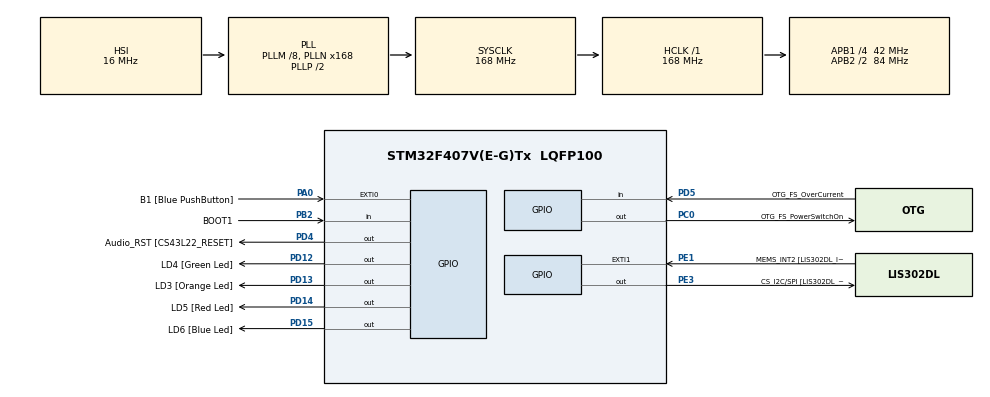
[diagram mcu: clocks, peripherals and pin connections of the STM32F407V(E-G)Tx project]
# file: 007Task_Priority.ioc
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Mcu.Family=STM32F4
Mcu.Name=STM32F407V(E-G)Tx
Mcu.Package=LQFP100
NVIC.EXTI0_IRQn=true\:6\:0\:true\:false\:true\:true\:true
NVIC.PriorityGroup=NVIC_PRIORITYGROUP_4
NVIC.TIM6_DAC_IRQn=true\:0\:0\:false\:false\:true\:false\:true
NVIC.TimeBase=TIM6_DAC_IRQn
NVIC.TimeBaseIP=TIM6
PA0-WKUP.GPIO_Label=B1 [Blue PushButton]
PA0-WKUP.GPIO_ModeDefaultEXTI=GPIO_MODE_IT_FALLING
PA0-WKUP.Signal=GPXTI0
PA10.GPIO_Label=OTG_FS_ID
PA10.GPIO_Mode=GPIO_MODE_AF_PP
PA10.GPIO_PuPd=GPIO_NOPULL
PA10.GPIO_Speed=GPIO_SPEED_FREQ_LOW
PA10.Signal=USB_OTG_FS_ID
PA11.GPIO_Label=OTG_FS_DM
PA11.GPIO_Mode=GPIO_MODE_AF_PP
PA11.GPIO_PuPd=GPIO_NOPULL
PA11.GPIO_Speed=GPIO_SPEED_FREQ_LOW
PA11.Signal=USB_OTG_FS_DM
PA12.GPIO_Label=OTG_FS_DP
PA12.GPIO_Mode=GPIO_MODE_AF_PP
PA12.GPIO_PuPd=GPIO_NOPULL
PA12.GPIO_Speed=GPIO_SPEED_FREQ_LOW
PA12.Signal=USB_OTG_FS_DP
PA13.GPIO_Label=SWDIO
PA13.Signal=SYS_JTMS-SWDIO
PA14.GPIO_Label=SWCLK
PA14.Signal=SYS_JTCK-SWCLK
PA4.GPIO_Label=I2S3_WS [CS43L22_LRCK]
PA4.GPIO_Mode=GPIO_MODE_AF_PP
PA4.GPIO_PuPd=GPIO_NOPULL
PA4.GPIO_Speed=GPIO_SPEED_FREQ_LOW
PA4.Signal=I2S3_WS
PA5.GPIO_Label=SPI1_SCK [LIS302DL_SCL/SPC]
PA5.GPIO_Mode=GPIO_MODE_AF_PP
PA5.GPIO_PuPd=GPIO_NOPULL
PA5.GPIO_Speed=GPIO_SPEED_FREQ_LOW
PA5.Signal=SPI1_SCK
PA6.GPIO_Label=SPI1_MISO [LIS302DL_SDO]
PA6.GPIO_Mode=GPIO_MODE_AF_PP
PA6.GPIO_PuPd=GPIO_NOPULL
PA6.GPIO_Speed=GPIO_SPEED_FREQ_LOW
PA6.Signal=SPI1_MISO
PA7.GPIO_Label=SPI1_MOSI [LIS302DL_SDA/SDI/SDO]
PA7.GPIO_Mode=GPIO_MODE_AF_PP
PA7.GPIO_PuPd=GPIO_NOPULL
PA7.GPIO_Speed=GPIO_SPEED_FREQ_LOW
PA7.Signal=SPI1_MOSI
PA9.GPIO_Label=VBUS_FS
PA9.GPIO_Mode=GPIO_MODE_INPUT
PA9.GPIO_PuPd=GPIO_NOPULL
PA9.Signal=USB_OTG_FS_VBUS
PB10.GPIO_Label=CLK_IN [MP45DT02_CLK]
PB10.GPIO_Mode=GPIO_MODE_AF_PP
PB10.GPIO_PuPd=GPIO_NOPULL
PB10.GPIO_Speed=GPIO_SPEED_FREQ_LOW
PB10.Signal=I2S2_CK
PB2.GPIO_Label=BOOT1
PB2.GPIO_Mode=GPIO_MODE_INPUT
PB2.GPIO_PuPd=GPIO_NOPULL
PB2.Signal=GPIO_Input
PB3.GPIO_Label=SWO
PB3.Signal=SYS_JTDO-SWO
PB6.GPIO_Label=Audio_SCL [CS43L22_SCL]
PB6.GPIO_Mode=GPIO_MODE_AF_OD
PB6.GPIO_PuPd=GPIO_NOPULL
PB6.GPIO_Speed=GPIO_SPEED_FREQ_LOW
PB6.Signal=I2C1_SCL
PB9.GPIO_Label=Audio_SDA [CS43L22_SDA]
PB9.GPIO_Mode=GPIO_MODE_AF_OD
PB9.GPIO_PuPd=GPIO_NOPULL
PB9.GPIO_Speed=GPIO_SPEED_FREQ_LOW
PB9.Signal=I2C1_SDA
PC0.GPIO_Label=OTG_FS_PowerSwitchOn
PC0.GPIO_PuPd=GPIO_NOPULL
PC0.GPIO_Speed=GPIO_SPEED_FREQ_LOW
PC0.PinState=GPIO_PIN_SET
PC0.Signal=GPIO_Output
PC10.GPIO_Label=I2S3_SCK [CS43L22_SCLK]
PC10.GPIO_Mode=GPIO_MODE_AF_PP
PC10.GPIO_PuPd=GPIO_NOPULL
PC10.GPIO_Speed=GPIO_SPEED_FREQ_LOW
PC10.Signal=I2S3_CK
PC12.GPIO_Label=I2S3_SD [CS43L22_SDIN]
PC12.GPIO_Mode=GPIO_MODE_AF_PP
PC12.GPIO_PuPd=GPIO_NOPULL
PC12.GPIO_Speed=GPIO_SPEED_FREQ_LOW
PC12.Signal=I2S3_SD
PC14-OSC32_IN.GPIO_Label=PC14-OSC32_IN
PC14-OSC32_IN.Signal=RCC_OSC32_IN
PC15-OSC32_OUT.GPIO_Label=PC15-OSC32_OUT
PC15-OSC32_OUT.Signal=RCC_OSC32_OUT
PC3.GPIO_Label=PDM_OUT [MP45DT02_DOUT]
PC3.GPIO_Mode=GPIO_MODE_AF_PP
PC3.GPIO_PuPd=GPIO_NOPULL
PC3.GPIO_Speed=GPIO_SPEED_FREQ_LOW
PC3.Signal=I2S2_SD
PC7.GPIO_Label=I2S3_MCK [CS43L22_MCLK]
PC7.GPIO_Mode=GPIO_MODE_AF_PP
PC7.GPIO_PuPd=GPIO_NOPULL
PC7.GPIO_Speed=GPIO_SPEED_FREQ_LOW
PC7.Signal=I2S3_MCK
PD12.GPIO_Label=LD4 [Green Led]
PD12.GPIO_PuPd=GPIO_NOPULL
PD12.GPIO_Speed=GPIO_SPEED_FREQ_LOW
PD12.Signal=GPIO_Output
PD13.GPIO_Label=LD3 [Orange Led]
PD13.GPIO_PuPd=GPIO_NOPULL
PD13.GPIO_Speed=GPIO_SPEED_FREQ_LOW
PD13.Signal=GPIO_Output
PD14.GPIO_Label=LD5 [Red Led]
PD14.GPIO_PuPd=GPIO_NOPULL
PD14.GPIO_Speed=GPIO_SPEED_FREQ_LOW
PD14.Signal=GPIO_Output
PD15.GPIO_Label=LD6 [Blue Led]
PD15.GPIO_PuPd=GPIO_NOPULL
PD15.GPIO_Speed=GPIO_SPEED_FREQ_LOW
PD15.Signal=GPIO_Output
PD4.GPIO_Label=Audio_RST [CS43L22_RESET]
PD4.GPIO_PuPd=GPIO_NOPULL
PD4.GPIO_Speed=GPIO_SPEED_FREQ_LOW
PD4.Signal=GPIO_Output
PD5.GPIO_Label=OTG_FS_OverCurrent
PD5.GPIO_Mode=GPIO_MODE_INPUT
PD5.GPIO_PuPd=GPIO_NOPULL
PD5.Signal=GPIO_Input
PE1.GPIO_Label=MEMS_INT2 [LIS302DL_INT2]
PE1.GPIO_ModeDefaultEXTI=GPIO_MODE_EVT_RISING
PE1.GPIO_PuPd=GPIO_NOPULL
PE1.Signal=GPXTI1
PE3.GPIO_Label=CS_I2C/SPI [LIS302DL_CS_I2C/SPI]
PE3.GPIO_PuPd=GPIO_NOPULL
PE3.GPIO_Speed=GPIO_SPEED_FREQ_LOW
PE3.Signal=GPIO_Output
PH0-OSC_IN.GPIO_Label=PH0-OSC_IN
PH0-OSC_IN.Signal=RCC_OSC_IN
PH1-OSC_OUT.GPIO_Label=PH1-OSC_OUT
PH1-OSC_OUT.Signal=RCC_OSC_OUT
ProjectManager.HeapSize=0x200
ProjectManager.StackSize=0x400
ProjectManager.TargetToolchain=STM32CubeIDE
RCC.48MHZClocksFreq_Value=48000000
RCC.AHBFreq_Value=168000000
RCC.APB1CLKDivider=RCC_HCLK_DIV4
RCC.APB1Freq_Value=42000000
RCC.APB1TimFreq_Value=84000000
RCC.APB2CLKDivider=RCC_HCLK_DIV2
RCC.APB2Freq_Value=84000000
RCC.APB2TimFreq_Value=168000000
RCC.CortexFreq_Value=168000000
RCC.HCLKFreq_Value=168000000
RCC.HSE_VALUE=8000000
RCC.HSI_VALUE=16000000
RCC.LSE_VALUE=32768
RCC.PLLM=8
RCC.PLLN=168
RCC.PLLQ=7
RCC.SYSCLKFreq_VALUE=168000000
RCC.SYSCLKSource=RCC_SYSCLKSOURCE_PLLCLK
RCC.VCOOutputFreq_Value=336000000
VP_SYS_VS_tim6.Mode=TIM6
board=STM32F407G-DISC1

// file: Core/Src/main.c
/* USER CODE BEGIN Header */
/**
  ******************************************************************************
  * @file           : main.c
  * @brief          : Main program body
  ******************************************************************************
  * @attention
  *
  * Copyright (c) 2024 STMicroelectronics.
  * All rights reserved.
  *
  * This software is licensed under terms that can be found in the LICENSE file
  * in the root directory of this software component.
  * If no LICENSE file comes with this software, it is provided AS-IS.
  *
  ******************************************************************************
  */
/* USER CODE END Header */
#include "main.h"

/* USER CODE BEGIN Includes */
#include<stdio.h>
#include"FreeRTOS.h"
#include"task.h"
/* USER CODE END Includes */

/* USER CODE BEGIN PV */
#define DWT_CTRL		(*(volatile uint32_t*)0xE0001000)

volatile BaseType_t status_button=0;
/* USER CODE END PV */

void SystemClock_Config(void);
static void MX_GPIO_Init(void);
/* USER CODE BEGIN PFP */

static void task1_handler(void *parameters);
static void task2_handler(void *parameters);
void button_interrupt_handler(void);
void switch_priority(void);

//extern void SEGGER_UART_init(uint32_t);

/* USER CODE END PFP */

int main(void)
{
  /* USER CODE BEGIN 1 */
	BaseType_t status;

	TaskHandle_t task1_handle;
	TaskHandle_t task2_handle;

  /* USER CODE END 1 */

  /* MCU Configuration--------------------------------------------------------*/

  /* Reset of all peripherals, Initializes the Flash interface and the Systick. */
  HAL_Init();

  /* Configure the system clock */
  SystemClock_Config();

  /* Initialize all configured peripherals */
  MX_GPIO_Init();
  /* USER CODE BEGIN 2 */

  //Enable the CYCCNT counter
  DWT_CTRL |= (1<<0);

 // SEGGER_UART_init(500000);

	SEGGER_SYSVIEW_Conf();

	 SEGGER_SYSVIEW_Start();  //this line is there in segger_uart.c under segger->config->Rec

	status=xTaskCreate(task1_handler, "Task-1", 200, NULL, 2, &task1_handle);

	configASSERT(status == pdPASS);

	status=xTaskCreate(task2_handler, "Task-2", 200, NULL, 3, &task2_handle);

	configASSERT(status == pdPASS);

	//start the freeRTOS scheduler
	vTaskStartScheduler();

	//if the control comes here then the launch of scheduler has failed due to insufficient memory in the heap

  /* USER CODE END 2 */

  /* Infinite loop */
  while (1)
  {

  }
}

void SystemClock_Config(void)
{
  RCC_OscInitTypeDef RCC_OscInitStruct = {0};
  RCC_ClkInitTypeDef RCC_ClkInitStruct = {0};

  /** Configure the main internal regulator output voltage
  */
  __HAL_RCC_PWR_CLK_ENABLE();
  __HAL_PWR_VOLTAGESCALING_CONFIG(PWR_REGULATOR_VOLTAGE_SCALE1);
  /** Initializes the RCC Oscillators according to the specified parameters
  * in the RCC_OscInitTypeDef structure.
  */
  RCC_OscInitStruct.OscillatorType = RCC_OSCILLATORTYPE_HSI;
  RCC_OscInitStruct.HSIState = RCC_HSI_ON;
  RCC_OscInitStruct.HSICalibrationValue = RCC_HSICALIBRATION_DEFAULT;
  RCC_OscInitStruct.PLL.PLLState = RCC_PLL_ON;
  RCC_OscInitStruct.PLL.PLLSource = RCC_PLLSOURCE_HSI;
  RCC_OscInitStruct.PLL.PLLM = 8;
  RCC_OscInitStruct.PLL.PLLN = 168;
  RCC_OscInitStruct.PLL.PLLP = RCC_PLLP_DIV2;
  RCC_OscInitStruct.PLL.PLLQ = 7;
  if (HAL_RCC_OscConfig(&RCC_OscInitStruct) != HAL_OK)
  {
    Error_Handler();
  }
  /** Initializes the CPU, AHB and APB buses clocks
  */
  RCC_ClkInitStruct.ClockType = RCC_CLOCKTYPE_HCLK|RCC_CLOCKTYPE_SYSCLK
                              |RCC_CLOCKTYPE_PCLK1|RCC_CLOCKTYPE_PCLK2;
  RCC_ClkInitStruct.SYSCLKSource = RCC_SYSCLKSOURCE_PLLCLK;
  RCC_ClkInitStruct.AHBCLKDivider = RCC_SYSCLK_DIV1;
  RCC_ClkInitStruct.APB1CLKDivider = RCC_HCLK_DIV4;
  RCC_ClkInitStruct.APB2CLKDivider = RCC_HCLK_DIV2;

  if (HAL_RCC_ClockConfig(&RCC_ClkInitStruct, FLASH_LATENCY_5) != HAL_OK)
  {
    Error_Handler();
  }
}

static void MX_GPIO_Init(void)
{
  GPIO_InitTypeDef GPIO_InitStruct = {0};

  /* GPIO Ports Clock Enable */
  __HAL_RCC_GPIOE_CLK_ENABLE();
  __HAL_RCC_GPIOC_CLK_ENABLE();
  __HAL_RCC_GPIOH_CLK_ENABLE();
  __HAL_RCC_GPIOA_CLK_ENABLE();
  __HAL_RCC_GPIOB_CLK_ENABLE();
  __HAL_RCC_GPIOD_CLK_ENABLE();

  /*Configure GPIO pin Output Level */
  HAL_GPIO_WritePin(CS_I2C_SPI_GPIO_Port, CS_I2C_SPI_Pin, GPIO_PIN_RESET);

  /*Configure GPIO pin Output Level */
  HAL_GPIO_WritePin(OTG_FS_PowerSwitchOn_GPIO_Port, OTG_FS_PowerSwitchOn_Pin, GPIO_PIN_SET);

  /*Configure GPIO pin Output Level */
  HAL_GPIO_WritePin(GPIOD, LD4_Pin|LD3_Pin|LD5_Pin|LD6_Pin
                          |Audio_RST_Pin, GPIO_PIN_RESET);

  /*Configure GPIO pin : CS_I2C_SPI_Pin */
  GPIO_InitStruct.Pin = CS_I2C_SPI_Pin;
  GPIO_InitStruct.Mode = GPIO_MODE_OUTPUT_PP;
  GPIO_InitStruct.Pull = GPIO_NOPULL;
  GPIO_InitStruct.Speed = GPIO_SPEED_FREQ_LOW;
  HAL_GPIO_Init(CS_I2C_SPI_GPIO_Port, &GPIO_InitStruct);

  /*Configure GPIO pin : OTG_FS_PowerSwitchOn_Pin */
  GPIO_InitStruct.Pin = OTG_FS_PowerSwitchOn_Pin;
  GPIO_InitStruct.Mode = GPIO_MODE_OUTPUT_PP;
  GPIO_InitStruct.Pull = GPIO_NOPULL;
  GPIO_InitStruct.Speed = GPIO_SPEED_FREQ_LOW;
  HAL_GPIO_Init(OTG_FS_PowerSwitchOn_GPIO_Port, &GPIO_InitStruct);

  /*Configure GPIO pin : PDM_OUT_Pin */
  GPIO_InitStruct.Pin = PDM_OUT_Pin;
  GPIO_InitStruct.Mode = GPIO_MODE_AF_PP;
  GPIO_InitStruct.Pull = GPIO_NOPULL;
  GPIO_InitStruct.Speed = GPIO_SPEED_FREQ_LOW;
  GPIO_InitStruct.Alternate = GPIO_AF5_SPI2;
  HAL_GPIO_Init(PDM_OUT_GPIO_Port, &GPIO_InitStruct);

  /*Configure GPIO pin : B1_Pin */
  GPIO_InitStruct.Pin = B1_Pin;
  GPIO_InitStruct.Mode = GPIO_MODE_IT_FALLING;
  GPIO_InitStruct.Pull = GPIO_NOPULL;
  HAL_GPIO_Init(B1_GPIO_Port, &GPIO_InitStruct);

  /*Configure GPIO pin : I2S3_WS_Pin */
  GPIO_InitStruct.Pin = I2S3_WS_Pin;
  GPIO_InitStruct.Mode = GPIO_MODE_AF_PP;
  GPIO_InitStruct.Pull = GPIO_NOPULL;
  GPIO_InitStruct.Speed = GPIO_SPEED_FREQ_LOW;
  GPIO_InitStruct.Alternate = GPIO_AF6_SPI3;
  HAL_GPIO_Init(I2S3_WS_GPIO_Port, &GPIO_InitStruct);

  /*Configure GPIO pins : SPI1_SCK_Pin SPI1_MISO_Pin SPI1_MOSI_Pin */
  GPIO_InitStruct.Pin = SPI1_SCK_Pin|SPI1_MISO_Pin|SPI1_MOSI_Pin;
  GPIO_InitStruct.Mode = GPIO_MODE_AF_PP;
  GPIO_InitStruct.Pull = GPIO_NOPULL;
  GPIO_InitStruct.Speed = GPIO_SPEED_FREQ_LOW;
  GPIO_InitStruct.Alternate = GPIO_AF5_SPI1;
  HAL_GPIO_Init(GPIOA, &GPIO_InitStruct);

  /*Configure GPIO pin : BOOT1_Pin */
  GPIO_InitStruct.Pin = BOOT1_Pin;
  GPIO_InitStruct.Mode = GPIO_MODE_INPUT;
  GPIO_InitStruct.Pull = GPIO_NOPULL;
  HAL_GPIO_Init(BOOT1_GPIO_Port, &GPIO_InitStruct);

  /*Configure GPIO pin : CLK_IN_Pin */
  GPIO_InitStruct.Pin = CLK_IN_Pin;
  GPIO_InitStruct.Mode = GPIO_MODE_AF_PP;
  GPIO_InitStruct.Pull = GPIO_NOPULL;
  GPIO_InitStruct.Speed = GPIO_SPEED_FREQ_LOW;
  GPIO_InitStruct.Alternate = GPIO_AF5_SPI2;
  HAL_GPIO_Init(CLK_IN_GPIO_Port, &GPIO_InitStruct);

  /*Configure GPIO pins : LD4_Pin LD3_Pin LD5_Pin LD6_Pin
                           Audio_RST_Pin */
  GPIO_InitStruct.Pin = LD4_Pin|LD3_Pin|LD5_Pin|LD6_Pin
                          |Audio_RST_Pin;
  GPIO_InitStruct.Mode = GPIO_MODE_OUTPUT_PP;
  GPIO_InitStruct.Pull = GPIO_NOPULL;
  GPIO_InitStruct.Speed = GPIO_SPEED_FREQ_LOW;
  HAL_GPIO_Init(GPIOD, &GPIO_InitStruct);

  /*Configure GPIO pins : I2S3_MCK_Pin I2S3_SCK_Pin I2S3_SD_Pin */
  GPIO_InitStruct.Pin = I2S3_MCK_Pin|I2S3_SCK_Pin|I2S3_SD_Pin;
  GPIO_InitStruct.Mode = GPIO_MODE_AF_PP;
  GPIO_InitStruct.Pull = GPIO_NOPULL;
  GPIO_InitStruct.Speed = GPIO_SPEED_FREQ_LOW;
  GPIO_InitStruct.Alternate = GPIO_AF6_SPI3;
  HAL_GPIO_Init(GPIOC, &GPIO_InitStruct);

  /*Configure GPIO pin : VBUS_FS_Pin */
  GPIO_InitStruct.Pin = VBUS_FS_Pin;
  GPIO_InitStruct.Mode = GPIO_MODE_INPUT;
  GPIO_InitStruct.Pull = GPIO_NOPULL;
  HAL_GPIO_Init(VBUS_FS_GPIO_Port, &GPIO_InitStruct);

  /*Configure GPIO pins : OTG_FS_ID_Pin OTG_FS_DM_Pin OTG_FS_DP_Pin */
  GPIO_InitStruct.Pin = OTG_FS_ID_Pin|OTG_FS_DM_Pin|OTG_FS_DP_Pin;
  GPIO_InitStruct.Mode = GPIO_MODE_AF_PP;
  GPIO_InitStruct.Pull = GPIO_NOPULL;
  GPIO_InitStruct.Speed = GPIO_SPEED_FREQ_LOW;
  GPIO_InitStruct.Alternate = GPIO_AF10_OTG_FS;
  HAL_GPIO_Init(GPIOA, &GPIO_InitStruct);

  /*Configure GPIO pin : OTG_FS_OverCurrent_Pin */
  GPIO_InitStruct.Pin = OTG_FS_OverCurrent_Pin;
  GPIO_InitStruct.Mode = GPIO_MODE_INPUT;
  GPIO_InitStruct.Pull = GPIO_NOPULL;
  HAL_GPIO_Init(OTG_FS_OverCurrent_GPIO_Port, &GPIO_InitStruct);

  /*Configure GPIO pins : Audio_SCL_Pin Audio_SDA_Pin */
  GPIO_InitStruct.Pin = Audio_SCL_Pin|Audio_SDA_Pin;
  GPIO_InitStruct.Mode = GPIO_MODE_AF_OD;
  GPIO_InitStruct.Pull = GPIO_NOPULL;
  GPIO_InitStruct.Speed = GPIO_SPEED_FREQ_LOW;
  GPIO_InitStruct.Alternate = GPIO_AF4_I2C1;
  HAL_GPIO_Init(GPIOB, &GPIO_InitStruct);

  /*Configure GPIO pin : MEMS_INT2_Pin */
  GPIO_InitStruct.Pin = MEMS_INT2_Pin;
  GPIO_InitStruct.Mode = GPIO_MODE_EVT_RISING;
  GPIO_InitStruct.Pull = GPIO_NOPULL;
  HAL_GPIO_Init(MEMS_INT2_GPIO_Port, &GPIO_InitStruct);

  /* EXTI interrupt init*/
  HAL_NVIC_SetPriority(EXTI0_IRQn, 6, 0);
  HAL_NVIC_EnableIRQ(EXTI0_IRQn);

}

/* USER CODE BEGIN 4 */

void button_interrupt_handler(void)
{
	traceISR_ENTER();
	status_button=1;
	traceISR_EXIT();

}

static void task1_handler(void *parameters)
{

	while(1)
	{

		SEGGER_SYSVIEW_PrintfTarget("Toggling Green led");
		HAL_GPIO_TogglePin(GPIOD, LED_GREEN_PIN);
		HAL_Delay(100);
		//HAL_GPIO_WritePin(GPIOD, LED_GREEN_PIN, GPIO_PIN_RESET);
		switch_priority();
	}

}

static void task2_handler(void *parameters)
{

	while(1)
	{
		SEGGER_SYSVIEW_PrintfTarget("Toggling Orange led");
		HAL_GPIO_TogglePin(GPIOD, LED_ORANGE_PIN);
		HAL_Delay(100);
		//HAL_GPIO_WritePin(GPIOD, LED_ORANGE_PIN, GPIO_PIN_RESET);
		switch_priority();
	}
}

void switch_priority(void)
{
	UBaseType_t p1,p2;
	xTaskHandle t1,t2,curr;

	BaseType_t switch_priority=0;

	portENTER_CRITICAL();
	if(status_button)
	{

		status_button=0;
		switch_priority=1;

	}
	portEXIT_CRITICAL();

	if (switch_priority)
	{
		t1=xTaskGetHandle("Task-1");
		t2=xTaskGetHandle("Task-2");

		p1=uxTaskPriorityGet(t1);
		p2=uxTaskPriorityGet(t2);

		curr= xTaskGetCurrentTaskHandle();

		if (curr ==t1)
		{
			vTaskPrioritySet(t1, p2);
			vTaskPrioritySet(t2, p1);
		}
		else
		{
			vTaskPrioritySet(t2, p1);
			vTaskPrioritySet(t1, p2);
		}
	}

}

/* USER CODE END 4 */

void HAL_TIM_PeriodElapsedCallback(TIM_HandleTypeDef *htim)
{
  if (htim->Instance == TIM6) {
    HAL_IncTick();
  }
}

void Error_Handler(void)
{
  __disable_irq();
  while (1)
  {
  }
}
